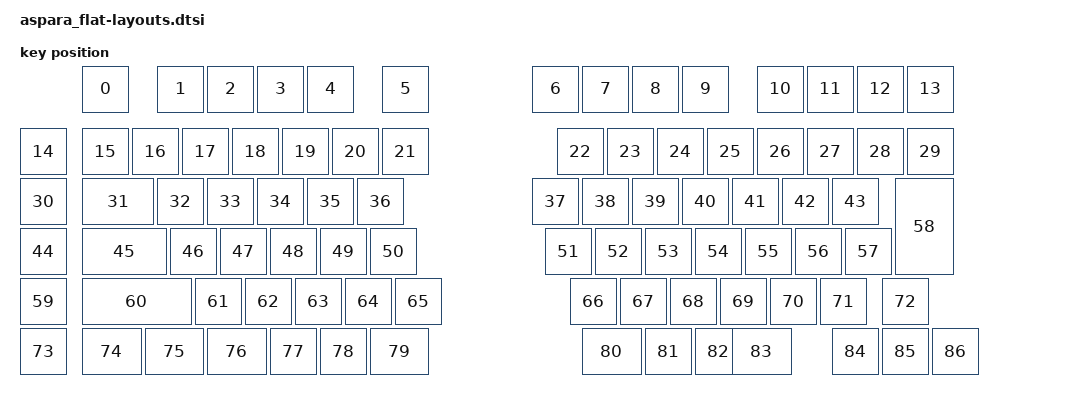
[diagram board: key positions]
/*
 * Copyright (c) 2026
 *
 * SPDX-License-Identifier: MIT
 */

#include <physical_layouts.dtsi>

/ {
    physical_layout0: physical_layout_0 {
        compatible = "zmk,physical-layout";
        display-name = "Default";
        transform = <&default_transform>;
        kscan = <&kscan0>;

        keys  //                     w   h    x    y     rot    rx    ry
            = <&key_physical_attrs 100 100  125   25       0     0     0>
            , <&key_physical_attrs 100 100  275   25       0     0     0>
            , <&key_physical_attrs 100 100  375   25       0     0     0>
            , <&key_physical_attrs 100 100  475   25       0     0     0>
            , <&key_physical_attrs 100 100  575   25       0     0     0>
            , <&key_physical_attrs 100 100  725   25       0     0     0>
            , <&key_physical_attrs 100 100 1025   25       0     0     0>
            , <&key_physical_attrs 100 100 1125   25       0     0     0>
            , <&key_physical_attrs 100 100 1225   25       0     0     0>
            , <&key_physical_attrs 100 100 1325   25       0     0     0>
            , <&key_physical_attrs 100 100 1475   25       0     0     0>
            , <&key_physical_attrs 100 100 1575   25       0     0     0>
            , <&key_physical_attrs 100 100 1675   25       0     0     0>
            , <&key_physical_attrs 100 100 1775   25       0     0     0>
            , <&key_physical_attrs 100 100    0  150       0     0     0>
            , <&key_physical_attrs 100 100  125  150       0     0     0>
            , <&key_physical_attrs 100 100  225  150       0     0     0>
            , <&key_physical_attrs 100 100  325  150       0     0     0>
            , <&key_physical_attrs 100 100  425  150       0     0     0>
            , <&key_physical_attrs 100 100  525  150       0     0     0>
            , <&key_physical_attrs 100 100  625  150       0     0     0>
            , <&key_physical_attrs 100 100  725  150       0     0     0>
            , <&key_physical_attrs 100 100 1075  150       0     0     0>
            , <&key_physical_attrs 100 100 1175  150       0     0     0>
            , <&key_physical_attrs 100 100 1275  150       0     0     0>
            , <&key_physical_attrs 100 100 1375  150       0     0     0>
            , <&key_physical_attrs 100 100 1475  150       0     0     0>
            , <&key_physical_attrs 100 100 1575  150       0     0     0>
            , <&key_physical_attrs 100 100 1675  150       0     0     0>
            , <&key_physical_attrs 100 100 1775  150       0     0     0>
            , <&key_physical_attrs 100 100    0  250       0     0     0>
            , <&key_physical_attrs 150 100  125  250       0     0     0>
            , <&key_physical_attrs 100 100  275  250       0     0     0>
            , <&key_physical_attrs 100 100  375  250       0     0     0>
            , <&key_physical_attrs 100 100  475  250       0     0     0>
            , <&key_physical_attrs 100 100  575  250       0     0     0>
            , <&key_physical_attrs 100 100  675  250       0     0     0>
            , <&key_physical_attrs 100 100 1025  250       0     0     0>
            , <&key_physical_attrs 100 100 1125  250       0     0     0>
            , <&key_physical_attrs 100 100 1225  250       0     0     0>
            , <&key_physical_attrs 100 100 1325  250       0     0     0>
            , <&key_physical_attrs 100 100 1425  250       0     0     0>
            , <&key_physical_attrs 100 100 1525  250       0     0     0>
            , <&key_physical_attrs 100 100 1625  250       0     0     0>
            , <&key_physical_attrs 100 100    0  350       0     0     0>
            , <&key_physical_attrs 175 100  125  350       0     0     0>
            , <&key_physical_attrs 100 100  300  350       0     0     0>
            , <&key_physical_attrs 100 100  400  350       0     0     0>
            , <&key_physical_attrs 100 100  500  350       0     0     0>
            , <&key_physical_attrs 100 100  600  350       0     0     0>
            , <&key_physical_attrs 100 100  700  350       0     0     0>
            , <&key_physical_attrs 100 100 1050  350       0     0     0>
            , <&key_physical_attrs 100 100 1150  350       0     0     0>
            , <&key_physical_attrs 100 100 1250  350       0     0     0>
            , <&key_physical_attrs 100 100 1350  350       0     0     0>
            , <&key_physical_attrs 100 100 1450  350       0     0     0>
            , <&key_physical_attrs 100 100 1550  350       0     0     0>
            , <&key_physical_attrs 100 100 1650  350       0     0     0>
            , <&key_physical_attrs 125 200 1750  250       0     0     0>
            , <&key_physical_attrs 100 100    0  450       0     0     0>
            , <&key_physical_attrs 225 100  125  450       0     0     0>
            , <&key_physical_attrs 100 100  350  450       0     0     0>
            , <&key_physical_attrs 100 100  450  450       0     0     0>
            , <&key_physical_attrs 100 100  550  450       0     0     0>
            , <&key_physical_attrs 100 100  650  450       0     0     0>
            , <&key_physical_attrs 100 100  750  450       0     0     0>
            , <&key_physical_attrs 100 100 1100  450       0     0     0>
            , <&key_physical_attrs 100 100 1200  450       0     0     0>
            , <&key_physical_attrs 100 100 1300  450       0     0     0>
            , <&key_physical_attrs 100 100 1400  450       0     0     0>
            , <&key_physical_attrs 100 100 1500  450       0     0     0>
            , <&key_physical_attrs 100 100 1600  450       0     0     0>
            , <&key_physical_attrs 100 100 1725  450       0     0     0>
            , <&key_physical_attrs 100 100    0  550       0     0     0>
            , <&key_physical_attrs 125 100  125  550       0     0     0>
            , <&key_physical_attrs 125 100  250  550       0     0     0>
            , <&key_physical_attrs 125 100  375  550       0     0     0>
            , <&key_physical_attrs 100 100  500  550       0     0     0>
            , <&key_physical_attrs 100 100  600  550       0     0     0>
            , <&key_physical_attrs 125 100  700  550       0     0     0>
            , <&key_physical_attrs 125 100 1125  550       0     0     0>
            , <&key_physical_attrs 100 100 1250  550       0     0     0>
            , <&key_physical_attrs 100 100 1350  550       0     0     0>
            , <&key_physical_attrs 125 100 1425  550       0     0     0>
            , <&key_physical_attrs 100 100 1625  550       0     0     0>
            , <&key_physical_attrs 100 100 1725  550       0     0     0>
            , <&key_physical_attrs 100 100 1825  550       0     0     0>
            ;
    };
};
